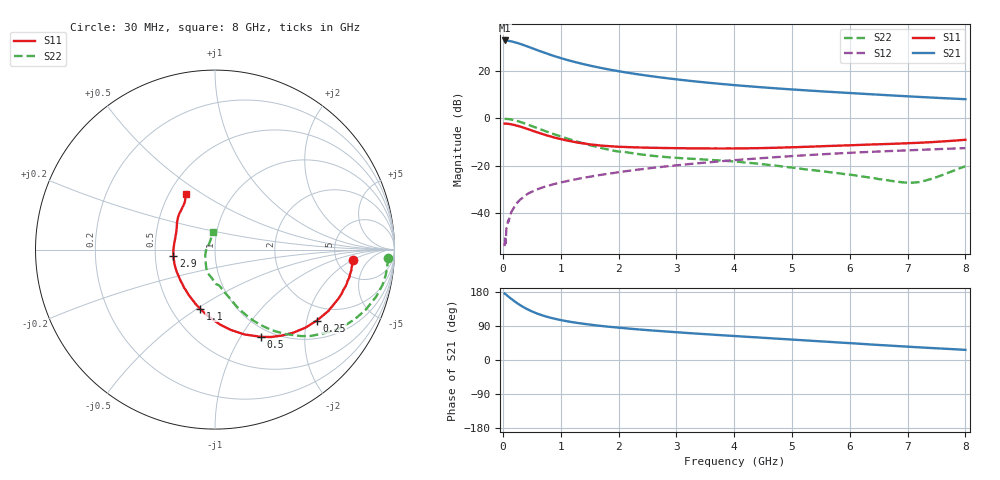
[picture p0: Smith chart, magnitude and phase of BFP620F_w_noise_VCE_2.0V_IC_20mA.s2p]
! Infineon Technologies  Discrete & RF Semiconductors
! BFP620F
! VCE =  2.0 V,  IC =  20 mA
! Common Emitter S-Parameters:  Dec 2014
# GHz  S  MA  R  50
!  f  S11  S21  S12  S22
! GHz  MAG  ANG  MAG  ANG  MAG  ANG  MAG  ANG
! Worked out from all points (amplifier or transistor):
!   95 points, 30 MHz to 8 GHz, reference 50 ohm
!   highest |S21| = 32.8 dB at 30 MHz (marker M1)
!   |S21| within 3 dB of that: start of sweep to 476.5 MHz
!   unconditionally stable (mu >= 1): 2.896 GHz to end of sweep
!   at 300 MHz: K = 0.31, MSG = 32.8 dB, |S12| = -34.3 dB
!   at 3.3 GHz: K = 1.01, MAG = 16.7 dB, |S12| = -19.2 dB
!   at 8 GHz: K = 1.07, MAG = 8.7 dB, |S12| = -12.6 dB
!   lowest NFmin = 0.84 dB at 450 MHz
!   S11 on the Smith chart (normalised r, x): 30 MHz: 7.12, -2.02; 250 MHz: 1.52, -2.30; 500 MHz: 0.89, -1.23; 1.1 GHz: 0.69, -0.51; 2.9 GHz: 0.62, -0.04; 8 GHz: 0.61, +0.43
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0.03  0.7701 -4.3  43.51 175.7  0.002 80.5  0.9635 -2.7
0.09  0.7594 -13.2  42.84 168.1  0.007 75.1  0.9581 -9.8
0.14  0.744 -20.3  41.63 161.9  0.0099 76.4  0.9388 -15.4
0.2  0.7181 -28.5  39.99 155.1  0.0135 74.9  0.9042 -21.7
0.25  0.6916 -34.9  38.49 149.6  0.0166 73.8  0.8706 -26.4
0.3  0.6647 -41.0  36.81 144.7  0.0192 70.6  0.8338 -31.0
0.35  0.6356 -46.8  35.02 140.1  0.0214 69.1  0.795 -34.9
0.4  0.6056 -52.3  33.38 135.8  0.024 68.2  0.7549 -38.5
0.5  0.5502 -62.1  30.07 128.4  0.028 65.0  0.6819 -45.0
0.6  0.4997 -71.0  27.06 122.1  0.0317 63.5  0.6125 -50.2
0.7  0.4571 -78.7  24.45 116.9  0.0351 62.2  0.5525 -54.6
0.8  0.4204 -85.8  22.16 112.5  0.0381 61.9  0.4994 -58.2
0.9  0.3879 -92.2  20.2 108.7  0.0412 61.3  0.4529 -61.4
1.1  0.3392 -104.1  17.06 102.5  0.0468 60.6  0.3765 -66.5
1.4  0.2931 -119.8  13.74 95.5  0.0553 60.1  0.2933 -72.4
2  0.2495 -145.3  9.787 85.4  0.0725 59.2  0.1979 -84.3
2.7  0.2362 -166.8  7.306 76.6  0.0925 57.0  0.1561 -97.6
2.9  0.2342 -171.7  6.811 74.4  0.0981 56.2  0.1489 -100.8
4.1  0.2308 164.4  4.87 62.4  0.1329 50.6  0.1192 -113.4
5.4  0.2529 147.2  3.753 50.1  0.1698 43.0  0.0793 -132.0
6.7  0.2868 132.2  3.03 37.9  0.2028 34.3  0.048 179.9
8  0.3505 117.7  2.512 26.7  0.2338 25.9  0.0969 97.9
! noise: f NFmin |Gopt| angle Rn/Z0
0.45  0.84  0.05  2  0.21
0.9  0.9  0.04  6  0.18
1.5  0.94  0.04  8  0.15
1.8  0.96  0.04  9  0.15
1.9  0.97  0.01  28  0.15
2.4  1.01  0.01  88  0.15
3.5  1.08  0.04  -178  0.15
5.5  1.22  0.15  230  0.1
6  1.25  0.15  253  0.14
